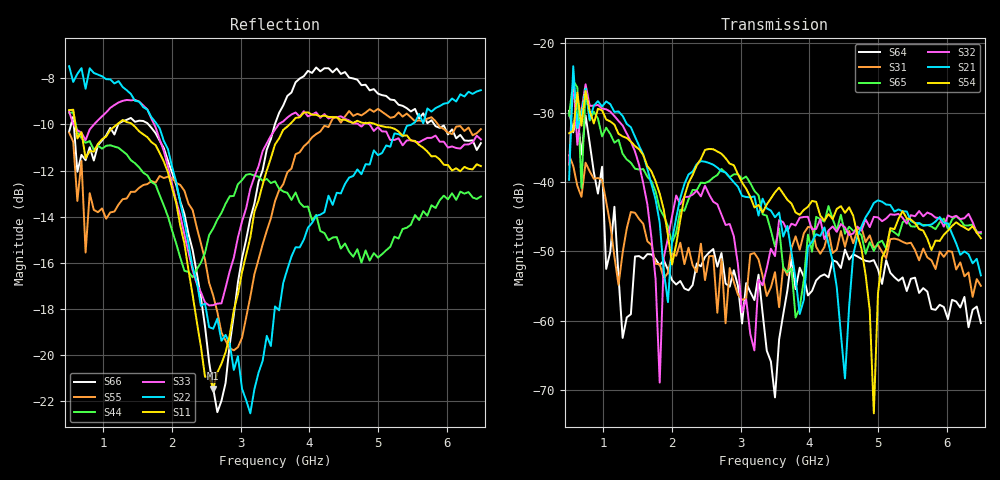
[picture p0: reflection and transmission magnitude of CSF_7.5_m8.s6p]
!Keysight Technologies,M9804A,MY58100912,A.14.10.03
!Date: Thursday, April 27, 2023 10:28:33
!Correction: S11(C  6-Port  )
!S12(C  6-Port  )
!S13(C  6-Port  )
!S14(C  6-Port  )
!S15(C  6-Port  )
!S16(C  6-Port  )
!S21(C  6-Port  )
!S22(C  6-Port  )
!S23(C  6-Port  )
!S24(C  6-Port  )
!S25(C  6-Port  )
!S26(C  6-Port  )
!S31(C  6-Port  )
!S32(C  6-Port  )
!S33(C  6-Port  )
!S34(C  6-Port  )
!S35(C  6-Port  )
!S36(C  6-Port  )
!S41(C  6-Port  )
!S42(C  6-Port  )
!S43(C  6-Port  )
!S44(C  6-Port  )
!S45(C  6-Port  )
!S46(C  6-Port  )
!S51(C  6-Port  )
!S52(C  6-Port  )
!S53(C  6-Port  )
!S54(C  6-Port  )
!S55(C  6-Port  )
!S56(C  6-Port  )
!S61(C  6-Port  )
!S62(C  6-Port  )
!S63(C  6-Port  )
!S64(C  6-Port  )
!S65(C  6-Port  )
!S66(C  6-Port  )
!S6P File: Measurement: :
# Hz S  RI  R 50
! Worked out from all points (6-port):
!   101 points, 500 MHz to 6.5 GHz, reference 50 ohm
!   strongest paths, dB at 500 MHz, 2 GHz, 3.5 GHz, 5 GHz, 6.5 GHz:
!     S54: -33.0, -51.9, -41.5, -56.1, -48.1
!     S21: -39.7, -48.4, -45.1, -42.6, -53.5
!     S32: -37.5, -44.9, -50.7, -45.1, -47.2
!     S65: -30.5, -48.8, -49.3, -48.8, -47.4
!     S31: -36.2, -50.3, -53.0, -49.1, -55.0
!     S64: -29.8, -54.1, -71.0, -52.5, -60.3
!   lowest |S11| = -21.5 dB at 2.6 GHz (marker M1), VSWR 1.18, Z = 42.5 + j2.17 ohm
!   |S11| at or under -10 dB: 590.8 MHz to 1.198 GHz (607.1 MHz wide, 67.9 % of centre); 1.422 GHz to 3.712 GHz (2.29 GHz wide, 89.2 % of centre); 4.972 GHz to end of sweep
